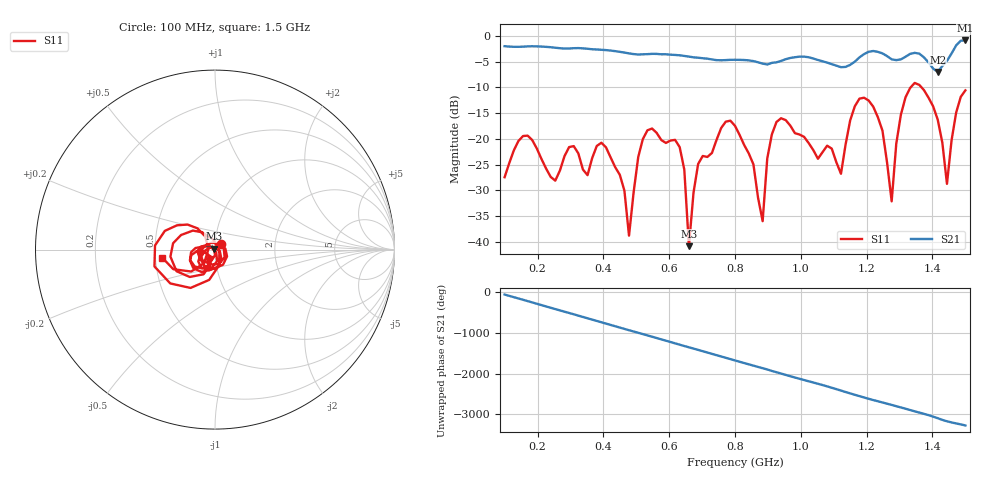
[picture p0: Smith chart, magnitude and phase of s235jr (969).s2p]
! NanoVNA-App
! Date: 2025-09-25 15:11:42
! Start: 100MHz Stop: 1,5GHz Points: 101
! S-Parameter data: F S11 S21 S12 S22
# Hz S RI R 50
!  Frequency  S11_Real  S11_Imag  S21_Real  S21_Imag  S12_Real  S12_Imag  S22_Real  S22_Imag
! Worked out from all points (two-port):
!   101 points, 100 MHz to 1.5 GHz, reference 50 ohm
!   highest |S21| = -0.85 dB at 1.5 GHz (marker M1); lowest = -7.0 dB at 1.416 GHz (marker M2)
!   |S21| within 3 dB of the highest: start of sweep to 644.5 MHz; 1.185 GHz to 1.261 GHz (76.1 MHz wide, 6.22 % of centre) (the widest 2 of 4)
!   lowest |S11| = -40.9 dB at 660 MHz (marker M3), VSWR 1.02, Z = 49.3 + j0.532 ohm
!   |S11| at or under -10 dB: start of sweep to 1.333 GHz; 1.367 GHz to end of sweep
!   S12 and S22 are empty: the file has one direction only
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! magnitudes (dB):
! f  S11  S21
! 100 MHz  -27.5  -2.0
! 156 MHz  -19.5  -2.1
! 338 MHz  -26.0  -2.4
! 408 MHz  -21.7  -2.7
! 478 MHz  -38.8  -3.4
! 520 MHz  -20.0  -3.5
! 576 MHz  -20.2  -3.5
! 632 MHz  -21.6  -3.7
! 660 MHz  -40.9  -4.0
! 688 MHz  -24.9  -4.2
! 800 MHz  -17.5  -4.6
! 884 MHz  -36.0  -5.4
! 926 MHz  -16.7  -5.1
! 1.038 GHz  -22.2  -4.4
! 1.122 GHz  -26.8  -6.0
! 1.164 GHz  -13.7  -5.0
! 1.206 GHz  -12.5  -3.0
! 1.276 GHz  -32.2  -4.5
! 1.332 GHz  -10.1  -3.5
! 1.416 GHz  -16.3  -7.0
! 1.444 GHz  -28.8  -4.8
! 1.5 GHz  -10.6  -0.8
